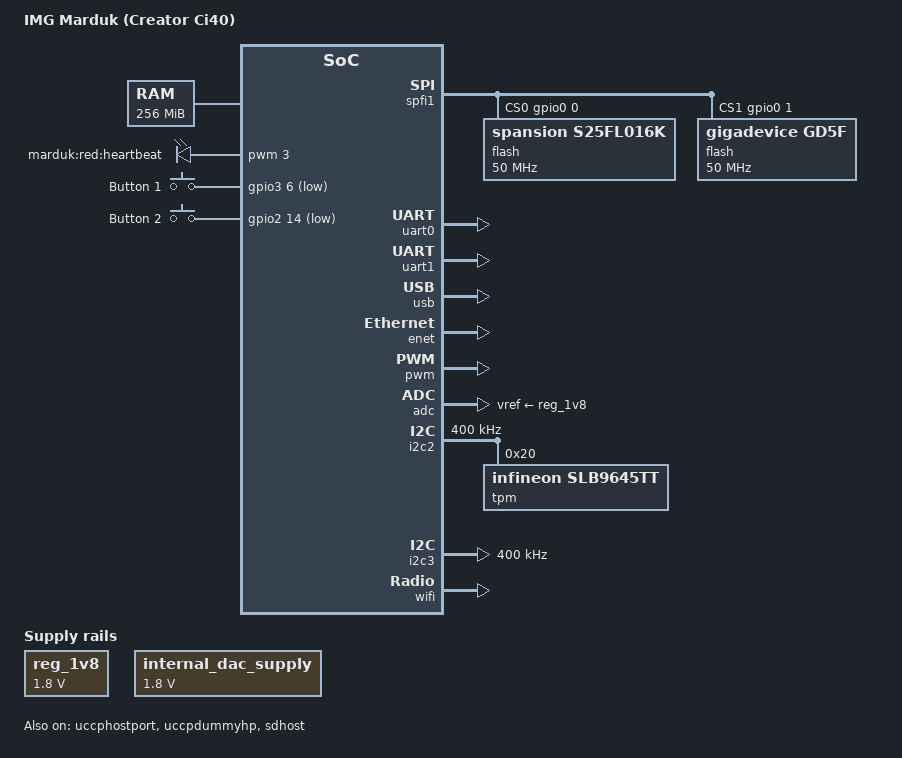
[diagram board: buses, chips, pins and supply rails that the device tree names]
/*
 * Copyright (C) 2015, 2016 Imagination Technologies Ltd.
 *
 * This program is free software; you can redistribute it and/or modify
 * it under the terms of the GNU General Public License version 2 as
 * published by the Free Software Foundation.
 *
 * IMG Marduk board is also known as Creator Ci40.
 */

/dts-v1/;

#include "pistachio.dtsi"

/ {
	model = "IMG Marduk (Creator Ci40)";
	compatible = "img,pistachio-marduk", "img,pistachio";

	aliases {
		serial0 = &uart0;
		serial1 = &uart1;
		ethernet0 = &enet;
		spi0 = &spfi0;
		spi1 = &spfi1;
	};

	chosen {
		bootargs = "console=ttyS1,115200n8 earlycon=uart8250,mmio32,0x18101500,115200 root=/dev/sda1 rootwait ro lpj=723968";
	};

	memory {
		device_type = "memory";
		reg =  <0x00000000 0x10000000>;
	};

	reg_1v8: fixed-regulator {
		compatible = "regulator-fixed";
		regulator-name = "aux_adc_vref";
		regulator-min-microvolt = <1800000>;
		regulator-max-microvolt = <1800000>;
		regulator-boot-on;
	};

	internal_dac_supply: internal-dac-supply {
		compatible = "regulator-fixed";
		regulator-name = "internal_dac_supply";
		regulator-min-microvolt = <1800000>;
		regulator-max-microvolt = <1800000>;
	};

	leds {
		compatible = "pwm-leds";
		heartbeat {
			label = "marduk:red:heartbeat";
			pwms = <&pwm 3 300000>;
			max-brightness = <255>;
			linux,default-trigger = "heartbeat";
		};
	};

	keys {
		compatible = "gpio-keys";
		button@1 {
			label = "Button 1";
			linux,code = <0x101>; /* BTN_1 */
			gpios = <&gpio3 6 GPIO_ACTIVE_LOW>;
		};
		button@2 {
			label = "Button 2";
			linux,code = <0x102>; /* BTN_2 */
			gpios = <&gpio2 14 GPIO_ACTIVE_LOW>;
		};
	};

	pistachio_audio_card {
		compatible = "img,pistachio-audio";

		clocks = <&clk_core CLK_AUDIO_PLL>,
			<&clk_core CLK_I2S>,
			<&clk_core CLK_AUDIO>;
		clock-names = "audio_pll", "i2s_mclk", "dac_clk";

		img,cr-periph = <&cr_periph>;
		img,event-timer = <&event_timer>;

		pinctrl-names = "default";
		pinctrl-0 = <&i2s_mclk_pin>;

		spdif-out {
			cpu-dai = <&spdif_out>;
		};

		spdif-in {
			cpu-dai = <&spdif_in>;
		};

		parallel-out {
			cpu-dai = <&parallel_out>;
			sound-dai = <&internal_dac>;
		};

		i2s-out {
			cpu-dai = <&i2s_out>;
			format = "i2s";
		};
	};
};

&internal_dac {
	VDD-supply = <&internal_dac_supply>;
};

&spfi1 {
	status = "okay";

	pinctrl-0 = <&spim1_pins>, <&spim1_quad_pins>, <&spim1_cs0_pin>,
		    <&spim1_cs1_pin>;
	pinctrl-names = "default";
	cs-gpios = <&gpio0 0 GPIO_ACTIVE_HIGH>, <&gpio0 1 GPIO_ACTIVE_HIGH>;

	flash@0 {
		compatible = "spansion,s25fl016k", "jedec,spi-nor";
		reg = <0>;
		spi-max-frequency = <50000000>;
	};
	flash@1 {
		compatible = "gigadevice,gd5f";
		reg = <1>;
		spi-max-frequency = <50000000>;
		nand-on-flash-bbt;
		spi-rx-bus-width = <2>;
		spi-tx-bus-width = <4>;
		#address-cells = <1>;
		#size-cells = <1>;
		linux,mtd-name = "spi-nand";
	};
};

&uccphostport {
	status = "okay";
};

&uccpdummyhp {
	status = "okay";
};

&uart0 {
	status = "okay";
	assigned-clock-rates = <114278400>, <1843200>;
};

&uart1 {
	status = "okay";
};

&usb {
	status = "okay";
};

&usb_phy {
	pinctrl-names = "default";
	pinctrl-0 = <&usb_pwr_on_pins>;
	enable-vbus-drive;
};

&enet {
	status = "okay";
};

&pin_enet {
	drive-strength = <2>;
};

&pin_enet_phy_clk {
	drive-strength = <2>;
};

&sdhost {
	status = "okay";
	bus-width = <4>;
	disable-wp;
};

&pin_sdhost_cmd {
	drive-strength = <2>;
};

&pin_sdhost_data {
	drive-strength = <2>;
};

&pwm {
	status = "okay";

	pinctrl-0 = <&pwmpdm0_pin>, <&pwmpdm1_pin>, <&pwmpdm2_pin>,
		    <&pwmpdm3_pin>;
	pinctrl-names = "default";
};

&adc {
	status = "okay";
	vref-supply = <&reg_1v8>;
	adc-reserved-channels = <0x10>;
};

&i2c2 {
	status = "okay";
	clock-frequency = <400000>;

	tpm@20 {
		compatible = "infineon,slb9645tt";
		reg = <0x20>;
	};

};

&i2c3 {
	status = "okay";
	clock-frequency = <400000>;
};

&wifi {
       status = "okay";
       rf-params = [101F24292E33383C4045484D5157595D6164676B6E71292D3135393c41454a4d50535557595B5D5F6265682A3136393D4043474A4D5154575A5D606366686B6F24282C3134373C4144484D52555A5E62666A6F747923282C31363A3E4245494E51575B5F63666B71767A22262A3035393C4044474A4D5155595C5F62666a72292D33373A3E4246494C4F5356595C6064686D7277282B3136393D4044474B5155585B5D606467696c72292D3034383B3F43474A4E5155595D6165696D7274252A2F33383C4043474C4F53585E6165696D73787C121212121212121212121212111010101010101010101010100F121212121212110F0D0A0A1010101010100F0D0B08080F0F0F0F0F0F0E0C0A0707121212121212110F0D0A0A1010101010100F0D0B08080F0F0F0F0F0F0E0C0A0707121212121212110F0D0A0A1010101010100F0D0B08080F0F0F0F0F0F0E0C0A0707121212121212110F0D0A0A1010101010100F0D0B08080F0F0F0F0F0F0E0C0A0707];
       num_streams = [02];
};


&i2s_out {
	status = "okay";
	pinctrl-names = "default";
	pinctrl-0 = <&i2s_out_pins>;
};

&i2s_in {
	status = "okay";
	pinctrl-names = "default";
	pinctrl-0 = <&i2s_in_pins>;
};

&i2s_out_pins {
	i2s-out-clk {
		pins = "mfio37", "mfio38";
		function = "i2s_out";
	};
	i2s-out {
		pins = "mfio39", "mfio40", "mfio41";
		function = "i2s_out";
	};
};

&i2s_in_pins {
	i2s-in {
		pins = "mfio47", "mfio48", "mfio49",
			"mfio50", "mfio51";
		function = "i2s_in";
	};
};

&spdif_out {
	status = "okay";
};

&spdif_in {
	status = "okay";
};

&parallel_out {
	status = "okay";
};
